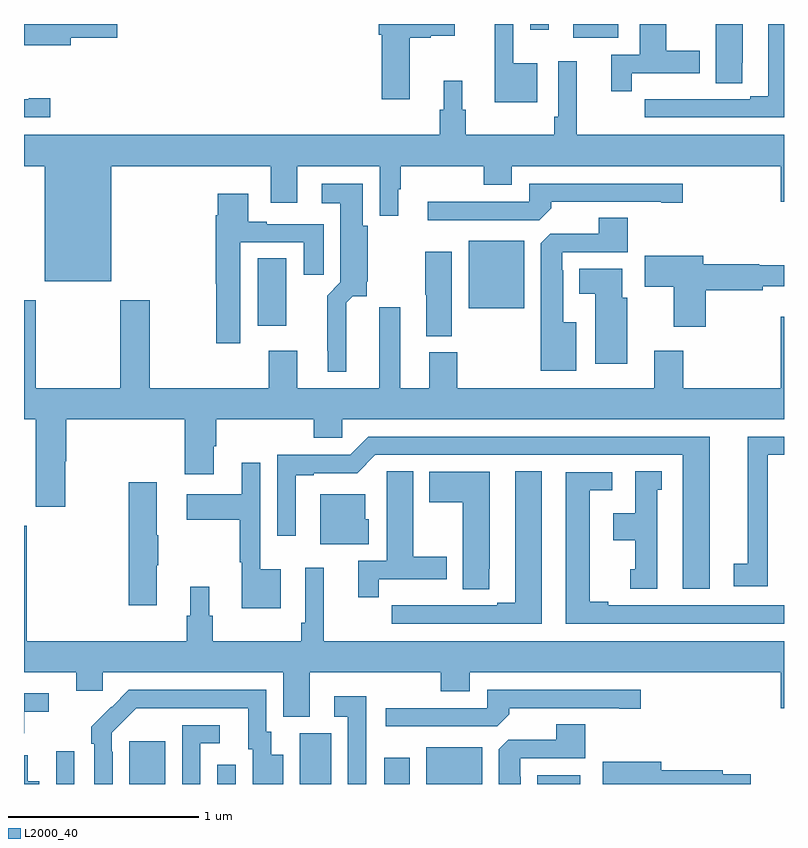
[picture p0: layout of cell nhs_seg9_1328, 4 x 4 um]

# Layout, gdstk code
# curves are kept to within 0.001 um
import gdstk
lib = gdstk.Library(unit=1e-6, precision=1e-09)
def R(c, l, rs):  # rectangles x0, y0, x1, y1
    for r in rs: c.add(gdstk.rectangle(r[:2], r[2:], *l))
def P(c, l, *ps):  # polygons
    for p in ps: c.add(gdstk.Polygon(p, *l))
L2000_40 = (2000, 40)

nhs_seg9_1328 = lib.new_cell('nhs_seg9_1328')
R(nhs_seg9_1328, L2000_40, [(185.169,1194.5,185.265,1194.673), (185.555,1194.5,185.743,1194.724), (186.018,1194.5,186.114,1194.601), (186.452,1194.5,186.616,1194.768), (186.896,1194.5,187.03,1194.637), (187.118,1194.5,187.411,1194.694), (187.7,1194.5,187.927,1194.547), (186.23,1196.913,186.379,1197.266), (187.34,1197.005,187.633,1197.358), (187.892,1198.427,188.128,1198.5), (187.665,1198.47,187.762,1198.5)])
P(nhs_seg9_1328, L2000_40, [(188.781,1198.297),(188.782,1198.297),(188.782,1198.5),(188.642,1198.5),(188.642,1198.189),(188.781,1198.189)],
  [(185.245,1198.427),(185.491,1198.427),(185.491,1198.5),(185,1198.5),(185,1198.388),(185.245,1198.388)],
  [(187.702,1198.294),(187.575,1198.294),(187.575,1198.5),(187.478,1198.5),(187.478,1198.088),(187.702,1198.088)],
  [(187.03,1198.427),(187.14,1198.427),(187.14,1198.439),(187.267,1198.439),(187.267,1198.5),(186.866,1198.5),(186.866,1198.443),(186.884,1198.443),(186.884,1198.104),(187.03,1198.104)],
  [(189,1198.5),(188.918,1198.5),(188.918,1198.119),(188.822,1198.119),(188.822,1198.104),(188.546,1198.104),(188.546,1198.105),(188.38,1198.105),(188.38,1198.104),(188.268,1198.104),(188.268,1198.008),(189,1198.008)],
  [(188.198,1198.242),(188.557,1198.242),(188.557,1198.359),(188.38,1198.359),(188.38,1198.5),(188.24,1198.5),(188.24,1198.338),(188.09,1198.338),(188.09,1198.146),(188.198,1198.146)],
  [(185.458,1197.752),(186.299,1197.752),(186.299,1197.558),(186.439,1197.558),(186.439,1197.752),(186.873,1197.752),(186.873,1197.492),(186.97,1197.492),(186.97,1197.63),(186.982,1197.63),(186.982,1197.752),(187.42,1197.752),(187.42,1197.653),(187.567,1197.653),(187.567,1197.752),(188.984,1197.752),(188.984,1197.564),(189,1197.564),(189,1197.916),(187.91,1197.916),(187.91,1198.303),(187.812,1198.303),(187.812,1198.012),(187.792,1198.012),(187.792,1197.916),(187.325,1197.916),(187.325,1198.05),(187.306,1198.05),(187.306,1198.201),(187.208,1198.201),(187.208,1198.05),(187.189,1198.05),(187.189,1197.916),(185,1197.916),(185,1197.752),(185.108,1197.752),(185.108,1197.146),(185.458,1197.146)],
  [(185.137,1198.109),(185.024,1198.109),(185.024,1198.104),(185,1198.104),(185,1198.008),(185.137,1198.008)],
  [(187.775,1197.53),(187.775,1197.564),(188.354,1197.564),(188.354,1197.559),(188.467,1197.559),(188.467,1197.66),(187.659,1197.66),(187.659,1197.564),(187.125,1197.564),(187.125,1197.468),(187.713,1197.468)],
  [(186.697,1197.032),(186.73,1197.066),(186.804,1197.066),(186.804,1197.141),(186.81,1197.147),(186.809,1197.438),(186.784,1197.438),(186.784,1197.658),(186.567,1197.658),(186.567,1197.557),(186.665,1197.557),(186.665,1197.14),(186.595,1197.07),(186.595,1196.779),(186.599,1196.779),(186.599,1196.669),(186.697,1196.669)],
  [(186.139,1197.351),(186.473,1197.351),(186.473,1197.18),(186.577,1197.18),(186.577,1197.447),(186.277,1197.447),(186.277,1197.46),(186.181,1197.46),(186.181,1197.607),(186.02,1197.607),(186.02,1197.494),(186.008,1197.494),(186.008,1197.132),(186.013,1197.132),(186.013,1196.82),(186.139,1196.82)],
  [(187.906,1196.929),(187.837,1196.929),(187.837,1197.203),(187.833,1197.203),(187.833,1197.3),(188.177,1197.3),(188.177,1197.479),(188.024,1197.479),(188.024,1197.396),(187.77,1197.396),(187.721,1197.347),(187.721,1196.675),(187.906,1196.675)],
  [(187.252,1197.301),(187.111,1197.301),(187.111,1197.075),(187.118,1197.075),(187.118,1196.857),(187.252,1196.857)],
  [(188.588,1197.1),(188.888,1197.1),(188.888,1197.119),(189,1197.119),(189,1197.229),(188.871,1197.229),(188.871,1197.236),(188.575,1197.236),(188.575,1197.28),(188.268,1197.28),(188.268,1197.118),(188.42,1197.118),(188.42,1196.907),(188.588,1196.907)],
  [(188.176,1197.06),(188.149,1197.06),(188.149,1197.211),(187.922,1197.211),(187.922,1197.08),(188.006,1197.08),(188.006,1196.712),(188.176,1196.712)],
  [(185.217,1196.198),(185.222,1196.198),(185.222,1196.42),(185.846,1196.42),(185.846,1196.13),(185.998,1196.13),(185.998,1196.278),(186.011,1196.278),(186.011,1196.42),(186.524,1196.42),(186.524,1196.322),(186.675,1196.322),(186.675,1196.42),(189,1196.42),(189,1196.959),(188.984,1196.959),(188.984,1196.584),(188.471,1196.584),(188.471,1196.779),(188.318,1196.779),(188.318,1196.584),(187.281,1196.584),(187.281,1196.772),(187.133,1196.772),(187.133,1196.584),(186.979,1196.584),(186.979,1197.01),(186.869,1197.01),(186.869,1196.584),(186.439,1196.584),(186.439,1196.779),(186.287,1196.779),(186.287,1196.584),(185.661,1196.584),(185.661,1197.046),(185.506,1197.046),(185.506,1196.584),(185.061,1196.584),(185.061,1197.046),(185,1197.046),(185,1196.42),(185.062,1196.42),(185.062,1195.959),(185.217,1195.959)],
  [(188.608,1196.328),(186.813,1196.328),(186.717,1196.232),(186.333,1196.232),(186.333,1195.806),(186.43,1195.806),(186.43,1196.124),(186.526,1196.124),(186.526,1196.136),(186.753,1196.136),(186.849,1196.232),(188.468,1196.232),(188.468,1195.527),(188.608,1195.527)],
  [(188.914,1196.232),(189,1196.232),(189,1196.328),(188.81,1196.328),(188.81,1195.658),(188.736,1195.658),(188.736,1195.542),(188.914,1195.542)],
  [(186.352,1195.63),(186.243,1195.63),(186.243,1196.191),(186.146,1196.191),(186.146,1196.026),(185.856,1196.026),(185.856,1195.892),(186.135,1195.892),(186.135,1195.668),(186.146,1195.668),(186.146,1195.424),(186.352,1195.424)],
  [(188.332,1196.049),(188.356,1196.049),(188.356,1196.147),(188.216,1196.147),(188.216,1195.924),(188.102,1195.924),(188.102,1195.784),(188.216,1195.784),(188.216,1195.629),(188.192,1195.629),(188.192,1195.527),(188.332,1195.527)],
  [(187.726,1196.147),(187.586,1196.147),(187.586,1195.455),(187.49,1195.455),(187.49,1195.44),(187.214,1195.44),(187.214,1195.441),(187.048,1195.441),(187.048,1195.44),(186.936,1195.44),(186.936,1195.344),(187.726,1195.344)],
  [(186.866,1195.578),(187.225,1195.578),(187.225,1195.695),(187.048,1195.695),(187.048,1196.147),(186.909,1196.147),(186.909,1196.036),(186.908,1196.036),(186.908,1195.674),(186.758,1195.674),(186.758,1195.482),(186.866,1195.482)],
  [(187.449,1195.633),(187.45,1195.633),(187.45,1196.143),(187.133,1196.143),(187.133,1195.984),(187.31,1195.984),(187.31,1195.525),(187.449,1195.525)],
  [(189,1195.44),(188.074,1195.44),(188.074,1195.46),(187.978,1195.46),(187.978,1196.046),(188.095,1196.046),(188.095,1196.142),(187.85,1196.142),(187.85,1195.344),(189,1195.344)],
  [(185.698,1195.652),(185.706,1195.652),(185.706,1195.808),(185.698,1195.808),(185.698,1196.089),(185.552,1196.089),(185.552,1195.44),(185.698,1195.44)],
  [(186.814,1195.893),(186.796,1195.893),(186.796,1196.026),(186.56,1196.026),(186.56,1195.763),(186.814,1195.763)],
  [(186.505,1195.088),(187.193,1195.088),(187.193,1194.989),(187.345,1194.989),(187.345,1195.088),(188.984,1195.088),(188.984,1194.9),(189,1194.9),(189,1195.252),(186.578,1195.252),(186.578,1195.639),(186.48,1195.639),(186.48,1195.348),(186.46,1195.348),(186.46,1195.252),(185.993,1195.252),(185.993,1195.386),(185.974,1195.386),(185.974,1195.537),(185.876,1195.537),(185.876,1195.386),(185.857,1195.386),(185.857,1195.252),(185.014,1195.252),(185.014,1195.858),(185,1195.858),(185,1195.088),(185.276,1195.088),(185.276,1194.99),(185.415,1194.99),(185.415,1195.088),(186.365,1195.088),(186.365,1194.853),(186.505,1194.853)],
  [(185.466,1194.671),(185.463,1194.671),(185.463,1194.771),(185.592,1194.9),(186.179,1194.9),(186.179,1194.684),(186.203,1194.684),(186.203,1194.5),(186.364,1194.5),(186.364,1194.655),(186.301,1194.655),(186.301,1194.774),(186.276,1194.774),(186.276,1194.996),(185.552,1194.996),(185.355,1194.801),(185.355,1194.713),(185.37,1194.713),(185.37,1194.5),(185.466,1194.5)],
  [(187.553,1194.866),(187.553,1194.9),(188.132,1194.9),(188.132,1194.895),(188.245,1194.895),(188.245,1194.996),(187.437,1194.996),(187.437,1194.9),(186.903,1194.9),(186.903,1194.804),(187.491,1194.804)],
  [(185.002,1194.88),(185.131,1194.88),(185.131,1194.978),(185,1194.978),(185,1194.767),(185.002,1194.767)],
  [(186.801,1194.961),(186.633,1194.961),(186.633,1194.855),(186.705,1194.855),(186.705,1194.5),(186.801,1194.5)],
  [(187.615,1194.539),(187.611,1194.539),(187.611,1194.636),(187.955,1194.636),(187.955,1194.815),(187.802,1194.815),(187.802,1194.732),(187.548,1194.732),(187.499,1194.683),(187.499,1194.5),(187.615,1194.5)],
  [(185.928,1194.714),(186.031,1194.714),(186.031,1194.81),(185.832,1194.81),(185.832,1194.5),(185.928,1194.5)],
  [(185.08,1194.514),(185.02,1194.514),(185.02,1194.652),(185,1194.652),(185,1194.5),(185.08,1194.5)],
  [(188.825,1194.552),(188.678,1194.552),(188.678,1194.572),(188.353,1194.572),(188.353,1194.616),(188.046,1194.616),(188.046,1194.5),(188.825,1194.5)])

lib.write_gds('nhs_seg9_1328.gds')
